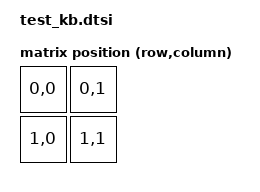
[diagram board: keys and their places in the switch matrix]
#include "test_kb-layouts.dtsi"
#include <dt-bindings/zmk/matrix_transform.h>

/ {
    matrix_transform0: matrix_transform0 {
        compatible = "zmk,matrix-transform";
        columns = <2>;
        rows = <2>;
        map = <
            RC(0,0) RC(0,1)
            RC(1,0) RC(1,1)
        >;
    };
};

&physical_layout_test_kb {
    transform = <&matrix_transform0>;
};

